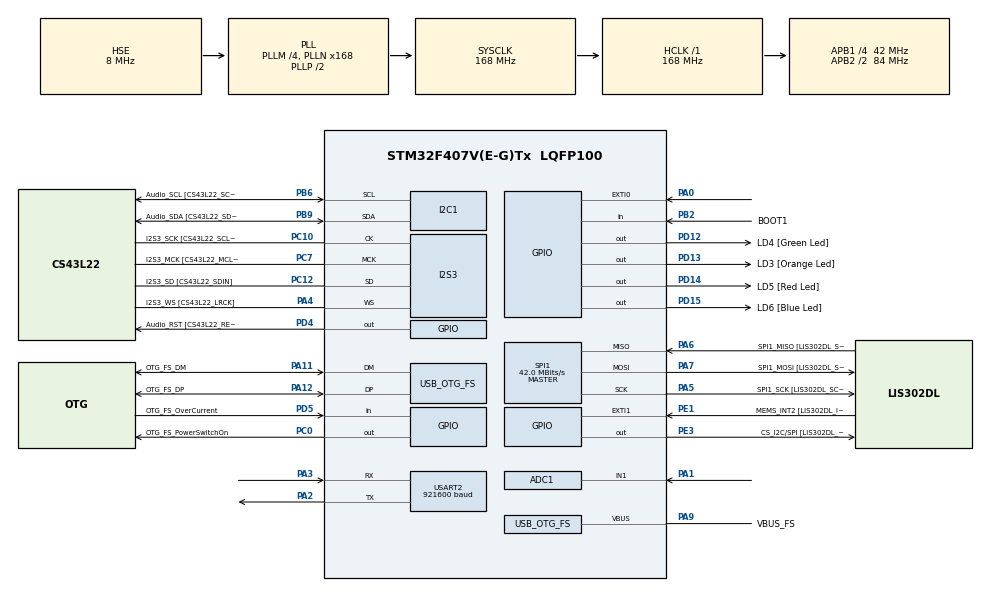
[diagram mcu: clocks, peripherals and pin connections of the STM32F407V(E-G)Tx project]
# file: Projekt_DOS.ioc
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ADC1.Channel-0\#ChannelRegularConversion=ADC_CHANNEL_1
ADC1.DMAContinuousRequests=ENABLE
ADC1.ExternalTrigConv=ADC_EXTERNALTRIGCONV_T2_TRGO
ADC1.NbrOfConversionFlag=1
ADC1.Rank-0\#ChannelRegularConversion=1
ADC1.SamplingTime-0\#ChannelRegularConversion=ADC_SAMPLETIME_3CYCLES
ADC1.master=1
Dma.ADC1.0.Direction=DMA_PERIPH_TO_MEMORY
Dma.ADC1.0.FIFOMode=DMA_FIFOMODE_DISABLE
Dma.ADC1.0.Instance=DMA2_Stream0
Dma.ADC1.0.MemDataAlignment=DMA_MDATAALIGN_HALFWORD
Dma.ADC1.0.MemInc=DMA_MINC_ENABLE
Dma.ADC1.0.Mode=DMA_CIRCULAR
Dma.ADC1.0.PeriphDataAlignment=DMA_PDATAALIGN_HALFWORD
Dma.ADC1.0.PeriphInc=DMA_PINC_DISABLE
Dma.ADC1.0.Priority=DMA_PRIORITY_LOW
Dma.Request0=ADC1
Dma.Request1=SPI3_TX
Dma.Request2=USART2_TX
Dma.SPI3_TX.1.Direction=DMA_MEMORY_TO_PERIPH
Dma.SPI3_TX.1.FIFOMode=DMA_FIFOMODE_DISABLE
Dma.SPI3_TX.1.Instance=DMA1_Stream7
Dma.SPI3_TX.1.MemDataAlignment=DMA_MDATAALIGN_HALFWORD
Dma.SPI3_TX.1.MemInc=DMA_MINC_ENABLE
Dma.SPI3_TX.1.Mode=DMA_CIRCULAR
Dma.SPI3_TX.1.PeriphDataAlignment=DMA_PDATAALIGN_HALFWORD
Dma.SPI3_TX.1.PeriphInc=DMA_PINC_DISABLE
Dma.SPI3_TX.1.Priority=DMA_PRIORITY_LOW
Dma.USART2_TX.2.Direction=DMA_MEMORY_TO_PERIPH
Dma.USART2_TX.2.FIFOMode=DMA_FIFOMODE_DISABLE
Dma.USART2_TX.2.Instance=DMA1_Stream6
Dma.USART2_TX.2.MemDataAlignment=DMA_MDATAALIGN_HALFWORD
Dma.USART2_TX.2.MemInc=DMA_MINC_ENABLE
Dma.USART2_TX.2.Mode=DMA_CIRCULAR
Dma.USART2_TX.2.PeriphDataAlignment=DMA_PDATAALIGN_HALFWORD
Dma.USART2_TX.2.PeriphInc=DMA_PINC_DISABLE
Dma.USART2_TX.2.Priority=DMA_PRIORITY_HIGH
I2S3.AudioFreq=I2S_AUDIOFREQ_44K
I2S3.AudioFreq-Half_Duplex_Master=I2S_AUDIOFREQ_96K
I2S3.DataFormat=I2S_DATAFORMAT_16B
I2S3.ErrorAudioFreq=0.26 %
I2S3.ErrorAudioFreq-Half_Duplex_Master=0.8 %
I2S3.FullDuplexMode=I2S_FULLDUPLEXMODE_DISABLE
I2S3.Instance=SPI$Index
I2S3.RealAudioFreq=44.117 KHz
I2S3.RealAudioFreq-Half_Duplex_Master=96.774 KHz
I2S3.VirtualMode=I2S_MODE_MASTER
Mcu.Family=STM32F4
Mcu.Name=STM32F407V(E-G)Tx
Mcu.Package=LQFP100
NVIC.DMA1_Stream6_IRQn=true\:0\:0\:false\:false\:true\:false\:true\:true
NVIC.DMA1_Stream7_IRQn=true\:0\:0\:false\:false\:true\:false\:true\:true
NVIC.DMA2_Stream0_IRQn=true\:0\:0\:false\:false\:true\:false\:true\:true
NVIC.OTG_FS_IRQn=true\:0\:0\:false\:false\:true\:true\:true\:true
NVIC.PriorityGroup=NVIC_PRIORITYGROUP_0
PA0-WKUP.Signal=GPXTI0
PA1.Signal=ADCx_IN1
PA10.GPIO_Label=OTG_FS_ID
PA10.GPIO_Mode=GPIO_MODE_AF_PP
PA10.GPIO_PuPd=GPIO_NOPULL
PA10.GPIO_Speed=GPIO_SPEED_FREQ_LOW
PA10.Signal=USB_OTG_FS_ID
PA11.GPIO_Label=OTG_FS_DM
PA11.GPIO_Mode=GPIO_MODE_AF_PP
PA11.GPIO_PuPd=GPIO_NOPULL
PA11.GPIO_Speed=GPIO_SPEED_FREQ_LOW
PA11.Mode=Host_Only
PA11.Signal=USB_OTG_FS_DM
PA12.GPIO_Label=OTG_FS_DP
PA12.GPIO_Mode=GPIO_MODE_AF_PP
PA12.GPIO_PuPd=GPIO_NOPULL
PA12.GPIO_Speed=GPIO_SPEED_FREQ_LOW
PA12.Mode=Host_Only
PA12.Signal=USB_OTG_FS_DP
PA13.GPIO_Label=SWDIO
PA13.Mode=Serial_Wire
PA13.Signal=SYS_JTMS-SWDIO
PA14.GPIO_Label=SWCLK
PA14.Mode=Serial_Wire
PA14.Signal=SYS_JTCK-SWCLK
PA2.Mode=Asynchronous
PA2.Signal=USART2_TX
PA3.Mode=Asynchronous
PA3.Signal=USART2_RX
PA4.GPIO_Label=I2S3_WS [CS43L22_LRCK]
PA4.GPIO_Mode=GPIO_MODE_AF_PP
PA4.GPIO_PuPd=GPIO_NOPULL
PA4.GPIO_Speed=GPIO_SPEED_FREQ_LOW
PA4.Mode=Half_Duplex_Master
PA4.Signal=I2S3_WS
PA5.GPIO_Label=SPI1_SCK [LIS302DL_SCL/SPC]
PA5.GPIO_Mode=GPIO_MODE_AF_PP
PA5.GPIO_PuPd=GPIO_NOPULL
PA5.GPIO_Speed=GPIO_SPEED_FREQ_LOW
PA5.Mode=Full_Duplex_Master
PA5.Signal=SPI1_SCK
PA6.GPIO_Label=SPI1_MISO [LIS302DL_SDO]
PA6.GPIO_Mode=GPIO_MODE_AF_PP
PA6.GPIO_PuPd=GPIO_NOPULL
PA6.GPIO_Speed=GPIO_SPEED_FREQ_LOW
PA6.Mode=Full_Duplex_Master
PA6.Signal=SPI1_MISO
PA7.GPIO_Label=SPI1_MOSI [LIS302DL_SDA/SDI/SDO]
PA7.GPIO_Mode=GPIO_MODE_AF_PP
PA7.GPIO_PuPd=GPIO_NOPULL
PA7.GPIO_Speed=GPIO_SPEED_FREQ_LOW
PA7.Mode=Full_Duplex_Master
PA7.Signal=SPI1_MOSI
PA9.GPIO_Label=VBUS_FS
PA9.GPIO_Mode=GPIO_MODE_INPUT
PA9.GPIO_PuPd=GPIO_NOPULL
PA9.Mode=Activate_VBUS
PA9.Signal=USB_OTG_FS_VBUS
PB10.GPIO_Label=CLK_IN [MP45DT02_CLK]
PB10.GPIO_Mode=GPIO_MODE_AF_PP
PB10.GPIO_PuPd=GPIO_NOPULL
PB10.GPIO_Speed=GPIO_SPEED_FREQ_LOW
PB10.Signal=I2S2_CK
PB2.GPIO_Label=BOOT1
PB2.GPIO_Mode=GPIO_MODE_INPUT
PB2.GPIO_PuPd=GPIO_NOPULL
PB2.Signal=GPIO_Input
PB3.GPIO_Label=SWO
PB3.Signal=SYS_JTDO-SWO
PB6.GPIO_Label=Audio_SCL [CS43L22_SCL]
PB6.GPIO_Mode=GPIO_MODE_AF_OD
PB6.GPIO_Pu=GPIO_PULLUP
PB6.GPIO_PuPd=GPIO_NOPULL
PB6.GPIO_Speed=GPIO_SPEED_FREQ_LOW
PB6.Mode=I2C
PB6.Signal=I2C1_SCL
PB9.GPIO_Label=Audio_SDA [CS43L22_SDA]
PB9.GPIO_Mode=GPIO_MODE_AF_OD
PB9.GPIO_Pu=GPIO_PULLUP
PB9.GPIO_PuPd=GPIO_NOPULL
PB9.GPIO_Speed=GPIO_SPEED_FREQ_LOW
PB9.Mode=I2C
PB9.Signal=I2C1_SDA
PC0.GPIO_Label=OTG_FS_PowerSwitchOn
PC0.GPIO_PuPd=GPIO_NOPULL
PC0.GPIO_Speed=GPIO_SPEED_FREQ_LOW
PC0.PinState=GPIO_PIN_SET
PC0.Signal=GPIO_Output
PC10.GPIO_Label=I2S3_SCK [CS43L22_SCLK]
PC10.GPIO_Mode=GPIO_MODE_AF_PP
PC10.GPIO_PuPd=GPIO_NOPULL
PC10.GPIO_Speed=GPIO_SPEED_FREQ_LOW
PC10.Mode=Half_Duplex_Master
PC10.Signal=I2S3_CK
PC12.GPIO_Label=I2S3_SD [CS43L22_SDIN]
PC12.GPIO_Mode=GPIO_MODE_AF_PP
PC12.GPIO_PuPd=GPIO_NOPULL
PC12.GPIO_Speed=GPIO_SPEED_FREQ_LOW
PC12.Mode=Half_Duplex_Master
PC12.Signal=I2S3_SD
PC14-OSC32_IN.GPIO_Label=PC14-OSC32_IN
PC14-OSC32_IN.Mode=LSE-External-Oscillator
PC14-OSC32_IN.Signal=RCC_OSC32_IN
PC15-OSC32_OUT.GPIO_Label=PC15-OSC32_OUT
PC15-OSC32_OUT.Mode=LSE-External-Oscillator
PC15-OSC32_OUT.Signal=RCC_OSC32_OUT
PC3.GPIO_Label=PDM_OUT [MP45DT02_DOUT]
PC3.GPIO_Mode=GPIO_MODE_AF_PP
PC3.GPIO_PuPd=GPIO_NOPULL
PC3.GPIO_Speed=GPIO_SPEED_FREQ_LOW
PC3.Signal=I2S2_SD
PC7.GPIO_Label=I2S3_MCK [CS43L22_MCLK]
PC7.GPIO_Mode=GPIO_MODE_AF_PP
PC7.GPIO_PuPd=GPIO_NOPULL
PC7.GPIO_Speed=GPIO_SPEED_FREQ_LOW
PC7.Mode=Master_Clock_Activated
PC7.Signal=I2S3_MCK
PD12.GPIO_Label=LD4 [Green Led]
PD12.GPIO_PuPd=GPIO_NOPULL
PD12.GPIO_Speed=GPIO_SPEED_FREQ_LOW
PD12.Signal=GPIO_Output
PD13.GPIO_Label=LD3 [Orange Led]
PD13.GPIO_PuPd=GPIO_NOPULL
PD13.GPIO_Speed=GPIO_SPEED_FREQ_LOW
PD13.Signal=GPIO_Output
PD14.GPIO_Label=LD5 [Red Led]
PD14.GPIO_PuPd=GPIO_NOPULL
PD14.GPIO_Speed=GPIO_SPEED_FREQ_LOW
PD14.Signal=GPIO_Output
PD15.GPIO_Label=LD6 [Blue Led]
PD15.GPIO_PuPd=GPIO_NOPULL
PD15.GPIO_Speed=GPIO_SPEED_FREQ_LOW
PD15.Signal=GPIO_Output
PD4.GPIO_Label=Audio_RST [CS43L22_RESET]
PD4.GPIO_PuPd=GPIO_NOPULL
PD4.GPIO_Speed=GPIO_SPEED_FREQ_LOW
PD4.Signal=GPIO_Output
PD5.GPIO_Label=OTG_FS_OverCurrent
PD5.GPIO_Mode=GPIO_MODE_INPUT
PD5.GPIO_PuPd=GPIO_NOPULL
PD5.Signal=GPIO_Input
PE1.GPIO_Label=MEMS_INT2 [LIS302DL_INT2]
PE1.GPIO_ModeDefaultEXTI=GPIO_MODE_EVT_RISING
PE1.GPIO_PuPd=GPIO_NOPULL
PE1.Signal=GPXTI1
PE3.GPIO_Label=CS_I2C/SPI [LIS302DL_CS_I2C/SPI]
PE3.GPIO_PuPd=GPIO_NOPULL
PE3.GPIO_Speed=GPIO_SPEED_FREQ_LOW
PE3.Signal=GPIO_Output
PH0-OSC_IN.GPIO_Label=PH0-OSC_IN
PH0-OSC_IN.Mode=HSE-External-Oscillator
PH0-OSC_IN.Signal=RCC_OSC_IN
PH1-OSC_OUT.GPIO_Label=PH1-OSC_OUT
PH1-OSC_OUT.Mode=HSE-External-Oscillator
PH1-OSC_OUT.Signal=RCC_OSC_OUT
ProjectManager.HeapSize=0x200
ProjectManager.StackSize=0x400
ProjectManager.TargetToolchain=STM32CubeIDE
RCC.48MHZClocksFreq_Value=48000000
RCC.AHBFreq_Value=168000000
RCC.APB1CLKDivider=RCC_HCLK_DIV4
RCC.APB1Freq_Value=42000000
RCC.APB1TimFreq_Value=84000000
RCC.APB2CLKDivider=RCC_HCLK_DIV2
RCC.APB2Freq_Value=84000000
RCC.APB2TimFreq_Value=168000000
RCC.CortexFreq_Value=168000000
RCC.HCLKFreq_Value=168000000
RCC.HSE_VALUE=8000000
RCC.HSI_VALUE=16000000
RCC.PLLM=4
RCC.PLLN=168
RCC.PLLQ=7
RCC.SYSCLKFreq_VALUE=168000000
RCC.SYSCLKSource=RCC_SYSCLKSOURCE_PLLCLK
RCC.VCOOutputFreq_Value=336000000
SH.ADCx_IN1.0=ADC1_IN1,IN1
SPI1.BaudRatePrescaler=SPI_BAUDRATEPRESCALER_2
SPI1.BaudRatePrescaler-Full_Duplex_Master=SPI_BAUDRATEPRESCALER_2
SPI1.CalculateBaudRate=42.0 MBits/s
SPI1.CalculateBaudRate-Full_Duplex_Master=42.0 MBits/s
SPI1.Direction=SPI_DIRECTION_2LINES
SPI1.Mode=SPI_MODE_MASTER
SPI1.Mode-Full_Duplex_Master=SPI_MODE_MASTER
SPI1.VirtualType=VM_MASTER
TIM2.Period=22-1
TIM2.Prescaler=84-1
TIM2.TIM_MasterOutputTrigger=TIM_TRGO_UPDATE
USART2.BaudRate=921600
USART2.Mode=MODE_TX
USART2.VirtualMode=VM_ASYNC
USART2.WordLength=WORDLENGTH_8B
USB_HOST.BSP.number=1
USB_HOST.USBH_HandleTypeDef-CDC_FS=hUsbHostFS
USB_HOST.VirtualModeFS=Cdc
USB_HOST0.BSP.STBoard=false
USB_HOST0.BSP.api=Unknown
USB_HOST0.BSP.instance=PC0
USB_HOST0.BSP.ip=GPIO
USB_HOST0.BSP.mode=Output
USB_HOST0.BSP.name=Drive_VBUS_FS
USB_HOST0.BSP.solution=PC0
USB_OTG_FS.VirtualMode=Host_Only
USB_OTG_FS.phy_itface=HCD_PHY_EMBEDDED
VP_TIM2_VS_ClockSourceINT.Mode=Internal
VP_USB_HOST_VS_USB_HOST_CDC_FS.Mode=CDC_FS
board=STM32F407G-DISC1

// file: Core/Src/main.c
/* USER CODE BEGIN Header */
/**
  ******************************************************************************
  * @file           : main.c
  * @brief          : Main program body
  ******************************************************************************
  * @attention
  *
  * Copyright (c) 2025 STMicroelectronics.
  * All rights reserved.
  *
  * This software is licensed under terms that can be found in the LICENSE file
  * in the root directory of this software component.
  * If no LICENSE file comes with this software, it is provided AS-IS.
  *
  ******************************************************************************
  */
/* USER CODE END Header */
#include "main.h"
#include "adc.h"
#include "dma.h"
#include "i2c.h"
#include "i2s.h"
#include "spi.h"
#include "tim.h"
#include "usart.h"
#include "usb_host.h"
#include "gpio.h"

/* USER CODE BEGIN Includes */
#define ARM_MATH_CM4
#include "arm_math.h"
#include "audio.h"
#include <stdio.h>
#include <stdlib.h>
#include <math.h>

/* USER CODE END Includes */

/* USER CODE BEGIN PD */
#define ADC_SIZE 1024
#define SAMPLE_FREQ 45455
#define ECHO_DELAY 512 // Delay in samples
#define ECHO_STRENGTH 0.7f // Echo strength (0.0 to 1.0)
#define FFT_SIZE 512
#define ECHO_BUFFER_SIZE 4096 // Adjust as needed for delay length

/* USER CODE END PD */

/* USER CODE BEGIN PV */

//Signals
uint16_t adc_buffer[ADC_SIZE];
q15_t conv_signal[ADC_SIZE/2];
q15_t output_signal[ADC_SIZE/2];
q15_t filtered_signal[ADC_SIZE/2];
q15_t echo_signal[ADC_SIZE/2];
q15_t i2s_signal[ADC_SIZE*2];
uint8_t master_volume = 8;
q15_t distortion(q15_t sample, int bitDepth);

//FFT signals
q15_t fft_signal[ADC_SIZE/2];
q15_t fftOutput[FFT_SIZE*2];
q15_t magnitudeSpectrum[FFT_SIZE/2];
q15_t peakVal = 0;
uint16_t peakHz = 0;
q15_t offset;

//Flags
volatile uint8_t fx_ready = 0;
volatile uint8_t adc_half_flag = 0;
volatile uint8_t adc_done_flag = 0;
volatile uint8_t conv_flag = 0;
volatile uint8_t i2s_send_flag = 0;
volatile uint8_t flag_uart = 0;
volatile uint8_t call_uart_once = 1;
volatile uint8_t distortion_flag = 0;
volatile uint8_t distortion_strength = 6;

arm_rfft_instance_q15 rfft_instance;
q15_t highPassCoeffsQ15[5] = {16384, -16384, 0, 16364, -16359};
arm_biquad_casd_df1_inst_q15 highPassFilter;
q15_t highPassState[2] = {0};

/* USER CODE END PV */

void SystemClock_Config(void);
void MX_USB_HOST_Process(void);

int main(void)
{

  /* USER CODE BEGIN 1 */

	q15_t number = 394;
	int num = 2;
	q15_t output = number * 2;

	float da = 0.5f;

  /* USER CODE END 1 */

  /* MCU Configuration--------------------------------------------------------*/

  /* Reset of all peripherals, Initializes the Flash interface and the Systick. */
  HAL_Init();

  /* Configure the system clock */
  SystemClock_Config();

  /* Initialize all configured peripherals */
  MX_GPIO_Init();
  MX_DMA_Init();
  MX_I2C1_Init();
  MX_I2S3_Init();
  MX_SPI1_Init();
  MX_USB_HOST_Init();
  MX_TIM2_Init();
  MX_ADC1_Init();
  MX_USART2_UART_Init();
  /* USER CODE BEGIN 2 */
  configAudio();
  arm_rfft_init_q15(&rfft_instance, FFT_SIZE, 0, 1);

  HAL_TIM_Base_Start(&htim2);
  HAL_ADC_Start_DMA(&hadc1, adc_buffer, ADC_SIZE);

  /* USER CODE END 2 */

  /* Infinite loop */
  while (1)
  {
    MX_USB_HOST_Process();

    /* USER CODE BEGIN 3 */
	  if (adc_half_flag == 1) {
    	adc_half_flag = 0;
    	conv_flag = 0;
    	init_highpass_filter();
    	convert_to_q15(adc_buffer, conv_signal, ADC_SIZE);
    	center_signal(conv_signal, ADC_SIZE/2);
    	apply_highpass_filter(conv_signal, filtered_signal, ADC_SIZE/2);
    	center_signal(filtered_signal, ADC_SIZE/2);

    	memcpy(fft_signal, filtered_signal, FFT_SIZE*sizeof(q15_t));
		rfft(fft_signal, fftOutput, magnitudeSpectrum);
		peak_values_fft(magnitudeSpectrum);
    	offset_signal(filtered_signal, output_signal, ADC_SIZE/2);

    	if (distortion_flag == 1) {
        	for (int i = 0; i < ADC_SIZE/2; i++) {
        		output_signal[i] = distortion(output_signal[i], distortion_strength);
        	}
    	}

		i2s_send_flag = 0; //DA KRENE PRVU POLOVICU

		convert_to_i2s(output_signal, i2s_signal, ADC_SIZE);

    }

    if (adc_done_flag == 1) {
    	adc_done_flag = 0;
    	conv_flag = 1;
    	init_highpass_filter();
    	convert_to_q15(adc_buffer, conv_signal, ADC_SIZE);
    	center_signal(conv_signal, ADC_SIZE/2);
    	apply_highpass_filter(conv_signal, filtered_signal, ADC_SIZE/2);
    	center_signal(filtered_signal, ADC_SIZE/2);

    	memcpy(fft_signal, filtered_signal, FFT_SIZE*sizeof(q15_t));
		rfft(fft_signal, fftOutput, magnitudeSpectrum);
		peak_values_fft(magnitudeSpectrum);
    	offset_signal(filtered_signal, output_signal, ADC_SIZE/2);

    	if (distortion_flag == 1) {
        	for (int i = 0; i < ADC_SIZE/2; i++) {
        		output_signal[i] = distortion(output_signal[i], distortion_strength);
        	}
    	}

    	i2s_send_flag = 1; //DA KRENE DRUGU POLOVICU
    	convert_to_i2s(output_signal, i2s_signal, ADC_SIZE);
		if (flag_uart == 1) {
			callUart(i2s_signal);
		}
		flag_uart = 0;

    }

	}
}
  /* USER CODE END 3 */

void SystemClock_Config(void)
{
  RCC_OscInitTypeDef RCC_OscInitStruct = {0};
  RCC_ClkInitTypeDef RCC_ClkInitStruct = {0};

  /** Configure the main internal regulator output voltage
  */
  __HAL_RCC_PWR_CLK_ENABLE();
  __HAL_PWR_VOLTAGESCALING_CONFIG(PWR_REGULATOR_VOLTAGE_SCALE1);

  /** Initializes the RCC Oscillators according to the specified parameters
  * in the RCC_OscInitTypeDef structure.
  */
  RCC_OscInitStruct.OscillatorType = RCC_OSCILLATORTYPE_HSE;
  RCC_OscInitStruct.HSEState = RCC_HSE_ON;
  RCC_OscInitStruct.PLL.PLLState = RCC_PLL_ON;
  RCC_OscInitStruct.PLL.PLLSource = RCC_PLLSOURCE_HSE;
  RCC_OscInitStruct.PLL.PLLM = 4;
  RCC_OscInitStruct.PLL.PLLN = 168;
  RCC_OscInitStruct.PLL.PLLP = RCC_PLLP_DIV2;
  RCC_OscInitStruct.PLL.PLLQ = 7;
  if (HAL_RCC_OscConfig(&RCC_OscInitStruct) != HAL_OK)
  {
    Error_Handler();
  }

  /** Initializes the CPU, AHB and APB buses clocks
  */
  RCC_ClkInitStruct.ClockType = RCC_CLOCKTYPE_HCLK|RCC_CLOCKTYPE_SYSCLK
                              |RCC_CLOCKTYPE_PCLK1|RCC_CLOCKTYPE_PCLK2;
  RCC_ClkInitStruct.SYSCLKSource = RCC_SYSCLKSOURCE_PLLCLK;
  RCC_ClkInitStruct.AHBCLKDivider = RCC_SYSCLK_DIV1;
  RCC_ClkInitStruct.APB1CLKDivider = RCC_HCLK_DIV4;
  RCC_ClkInitStruct.APB2CLKDivider = RCC_HCLK_DIV2;

  if (HAL_RCC_ClockConfig(&RCC_ClkInitStruct, FLASH_LATENCY_5) != HAL_OK)
  {
    Error_Handler();
  }
}

/* USER CODE BEGIN 4 */

// Function to apply distortion effect (e.g., hard clipping)
q15_t distortion(q15_t sample, int bitDepth) {
    int shift = 15 - bitDepth;
    return (sample >> shift) << shift;
}

void convert_to_q15(uint16_t *rawInput, q15_t *convertedSignal, int size) {
    int i;
    if (conv_flag == 0) {
    	for (i = 0; i < size / 2; i++) {
    		convertedSignal[i] = (q15_t)((rawInput[i]) * master_volume);
        }
    }
    if (conv_flag == 1) {
    	for (i = size / 2; i < size; i++) {
    		convertedSignal[i] = (q15_t)((rawInput[i]) * master_volume);
        }
    }
}
void center_signal(q15_t *input, uint16_t size) {
    q15_t mean;
    arm_mean_q15(input, size, &mean);
    for (uint16_t i = 0; i < size; i++) {
        input[i] -= mean; // Oduzimanje DC offseta
    }
}
void offset_signal(q15_t *input, q15_t *output, uint16_t size, q15_t offset) {
	arm_offset_q15(input, -offset, output, size);
}
void convert_to_i2s(q15_t *rawInput, q15_t *convertedSignal, int size) {
    int i = 0;
    	if (i2s_send_flag == 0) {
        	for (int j = 0; j < size; j += 2) {
        		convertedSignal[j] = (q15_t)(rawInput[i]);
        		convertedSignal[j+1] = (q15_t)(rawInput[i]);
        		i++;
        	}
    	}

    	if (i2s_send_flag == 1) {
        	for (int j = size; j < size*2; j += 2) {
        		convertedSignal[j] = (q15_t)(rawInput[i]);
        		convertedSignal[j+1] = (q15_t)(rawInput[i]);
        		i++;
        	}
    	}
}
void apply_highpass_filter(q15_t *input, q15_t *output, uint32_t blockSize) {
    arm_biquad_cascade_df1_q15(&highPassFilter, input, output, blockSize);
}
void init_highpass_filter() {
    arm_biquad_cascade_df1_init_q15(&highPassFilter, 1, highPassCoeffsQ15, highPassState, 0);
}
void rfft(q15_t *inputSignal, q15_t *fftOutput, q15_t *magnitudeSpectrum) {

	arm_rfft_q15(&rfft_instance, inputSignal, fftOutput); //rfft buffer izgleda jako cudno tho, DC, Nyquist, real1, imag1,
	offset = fftOutput[0];
	float result;
	for (int i = 0; i < 256; i++) {
		result = (float)(fftOutput[i+2]*fftOutput[i+2] + fftOutput[i+3]*fftOutput[i+3]);
		magnitudeSpectrum[i] = (q15_t)sqrt(result);
	}

 //ovo je za magnitudes, mora biti /2 jer je simetrično, nyquistov dijagram iz automatskog samo poz frekv
}
void peak_values_fft(q15_t *magnitudeSpectrum) {
	for (int i = 0; i < FFT_SIZE/2; i++) {
		if (magnitudeSpectrum[i] > peakVal) {
			peakVal = magnitudeSpectrum[i];
			peakHz = (uint16_t)(i * SAMPLE_FREQ / (float)FFT_SIZE);
		}
	}
}

void callUart(q15_t *input) {
	  HAL_UART_Transmit_DMA(&huart2, (uint8_t *)input, sizeof(input));
	  HAL_I2S_Transmit_DMA(&hi2s3, input, ADC_SIZE*2);
}

void HAL_ADC_ConvHalfCpltCallback(ADC_HandleTypeDef *hadc1) {
	adc_half_flag = 1;
}

void HAL_ADC_ConvCpltCallback(ADC_HandleTypeDef *hadc1) {
	adc_done_flag = 1;
	if (call_uart_once == 1) {
		flag_uart =  1;
	}
	call_uart_once = 0;
}

void HAL_I2S_TxCpltCallback(I2S_HandleTypeDef *hi2s) {
    if (hi2s->Instance == SPI3) {
    }
}

/* USER CODE END 4 */

void Error_Handler(void)
{
  __disable_irq();
  while (1)
  {
  }
}
